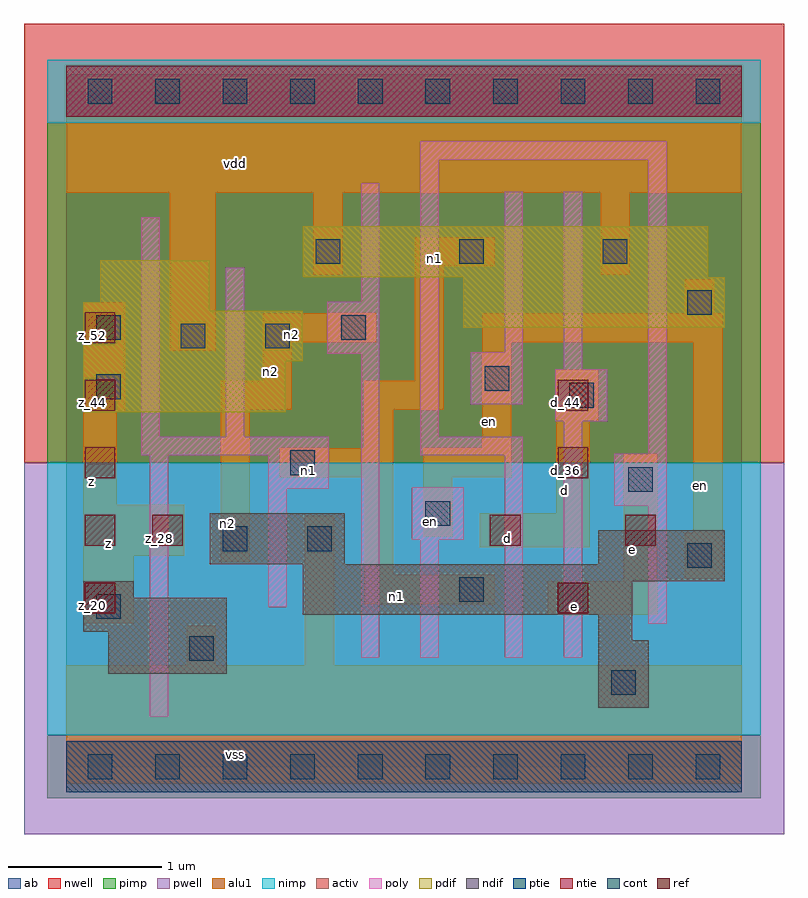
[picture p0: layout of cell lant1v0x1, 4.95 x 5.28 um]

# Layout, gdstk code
import gdstk
lib = gdstk.Library(unit=1e-6, precision=2.5e-09)
def R(c, l, rs):  # rectangles x0, y0, x1, y1
    for r in rs: c.add(gdstk.rectangle(r[:2], r[2:], *l))
def A(c, l, x, y, w, h, nx, ny, dx, dy):  # array of equal rectangles
    R(c, l, [(x+i*dx, y+j*dy, x+i*dx+w, y+j*dy+h) for i in range(nx) for j in range(ny)])
ndif = (3, 0)
pdif = (4, 0)
ntie = (5, 0)
ptie = (6, 0)
ref = (24, 0)
cont = (25, 0)
pwell = (41, 0)
nwell = (42, 0)
activ = (43, 0)
pimp = (44, 0)
nimp = (45, 0)
poly = (46, 0)
alu1 = (49, 0)
ab = (63, 0)

lant1v0x1 = lib.new_cell('lant1v0x1')
R(lant1v0x1, ndif, [(3.465,0.385,3.795,0.825), (0.275,0.605,1.045,0.88), (3.465,0.825,3.685,0.99), (0.11,0.88,1.045,1.1), (1.54,0.99,3.685,1.21), (0.11,1.1,0.44,1.21), (1.54,1.21,4.29,1.32), (0.935,1.32,1.815,1.65), (3.465,1.32,4.29,1.54)])
R(lant1v0x1, pdif, [(0.11,2.31,1.43,2.64), (0.11,2.64,1.54,2.97), (2.585,2.86,4.29,3.19), (0.11,2.97,0.935,3.025), (0.22,3.025,0.935,3.3), (1.54,3.19,4.18,3.52)])
R(lant1v0x1, ntie, [(0,4.235,4.4,4.565)])
R(lant1v0x1, ptie, [(0,-0.165,4.4,0.165)])
A(lant1v0x1, ref, 0.12, 1, 0.2, 0.2, 1, 5, 0, 0.44)
R(lant1v0x1, ref, [(3.2,1,3.4,1.2), (0.56,1.44,0.76,1.64), (2.76,1.44,2.96,1.64), (3.64,1.44,3.84,1.64), (3.2,1.88,3.4,2.08), (3.2,2.32,3.4,2.52)])
A(lant1v0x1, cont, 0.14, -0.08, 0.16, 0.16, 10, 2, 0.44, 4.4)
A(lant1v0x1, cont, 1.625, 3.275, 0.16, 0.16, 3, 1, 0.935, 0)
R(lant1v0x1, cont, [(3.55,0.47,3.71,0.63), (0.8,0.69,0.96,0.85), (0.195,0.965,0.355,1.125), (2.56,1.075,2.72,1.235), (4.045,1.295,4.205,1.455), (1.02,1.405,1.18,1.565), (1.57,1.405,1.73,1.565), (2.34,1.57,2.5,1.73), (3.66,1.79,3.82,1.95), (1.46,1.9,1.62,2.06), (3.275,2.34,3.435,2.5), (0.195,2.395,0.355,2.555), (2.725,2.45,2.885,2.61), (0.745,2.725,0.905,2.885), (1.295,2.725,1.455,2.885), (0.195,2.78,0.355,2.94), (1.79,2.78,1.95,2.94), (4.045,2.945,4.205,3.105)])
R(lant1v0x1, pwell, [(-0.275,-0.44,4.675,1.98)])
R(lant1v0x1, nwell, [(-0.275,1.98,4.675,4.84)])
R(lant1v0x1, activ, [(0,-0.165,4.4,0.165), (3.465,0.385,3.795,0.825), (0.275,0.605,1.045,0.88), (3.465,0.825,3.685,0.99), (0.11,0.88,1.045,1.1), (1.54,0.99,3.685,1.21), (0.11,1.1,0.44,1.21), (1.54,1.21,4.29,1.32), (0.935,1.32,1.815,1.65), (3.465,1.32,4.29,1.54), (0.11,2.31,1.43,2.64), (0.11,2.64,1.54,2.97), (2.585,2.86,4.29,3.19), (0.11,2.97,0.935,3.025), (0.22,3.025,0.935,3.3), (1.54,3.19,4.18,3.52), (0,4.235,4.4,4.565)])
R(lant1v0x1, pimp, [(-0.125,-0.205,4.525,0.205), (-0.125,1.98,4.525,4.195)])
R(lant1v0x1, nimp, [(-0.125,0.205,4.525,1.98), (-0.125,4.195,4.525,4.605)])
R(lant1v0x1, poly, [(0.545,0.325,0.665,2.03), (1.92,0.71,2.04,2.69), (2.305,0.71,2.425,1.48), (2.855,0.71,2.975,2.03), (3.24,0.71,3.36,2.25), (3.79,0.93,3.91,1.7), (1.315,1.04,1.435,1.81), (2.25,1.48,2.59,1.82), (3.57,1.7,3.91,2.04), (1.315,1.81,1.71,2.03), (0.49,2.03,1.71,2.15), (2.305,2.03,2.975,2.15), (3.79,2.04,3.91,3.955), (0.49,2.15,0.61,3.58), (1.04,2.15,1.16,3.25), (2.305,2.15,2.425,3.955), (3.185,2.25,3.525,2.59), (2.635,2.36,2.975,2.7), (3.24,2.59,3.36,3.745), (1.7,2.69,2.04,3.03), (2.855,2.7,2.975,3.745), (1.92,3.03,2.04,3.8), (2.305,3.955,3.91,4.075)])
R(lant1v0x1, alu1, [(0,-0.11,4.4,0.66), (0.785,0.66,0.975,0.92), (1.555,0.66,1.745,1.635), (0.11,0.935,0.44,1.375), (3.135,0.99,3.85,1.21), (1.94,1.06,2.79,1.25), (3.63,1.21,3.85,2.035), (4.03,1.225,4.275,1.525), (1.94,1.25,2.13,1.885), (1.005,1.335,1.195,2.325), (0.11,1.375,0.77,1.705), (2.695,1.43,3.41,1.65), (2.325,1.5,2.515,1.885), (4.085,1.525,4.275,2.765), (3.19,1.65,3.41,2.255), (0.11,1.705,0.33,2.31), (1.39,1.885,2.13,2.075), (2.325,1.885,2.9,2.075), (1.94,2.075,2.13,2.325), (2.71,2.075,2.9,2.765), (3.19,2.255,3.465,2.585), (0.11,2.31,0.385,3.025), (1.005,2.325,1.47,2.515), (1.94,2.325,2.46,2.515), (1.28,2.515,1.47,2.765), (2.27,2.515,2.46,3.26), (0.675,2.71,0.975,3.74), (1.28,2.765,2.02,2.955), (2.71,2.765,4.275,2.955), (4.03,2.955,4.22,3.175), (1.61,3.205,1.8,3.74), (3.48,3.205,3.67,3.74), (2.27,3.26,2.79,3.45), (0,3.74,4.4,4.51)])
R(lant1v0x1, ab, [(0,0,4.4,4.4)])
lant1v0x1.add(gdstk.Label('vss', (1.1,0.0825), layer=49, texttype=0))
lant1v0x1.add(gdstk.Label('e', (3.3125,1.045), layer=49, texttype=0))
lant1v0x1.add(gdstk.Label('en', (4.1325,1.835), layer=49, texttype=0))
lant1v0x1.add(gdstk.Label('e', (3.685,1.415), layer=49, texttype=0))
lant1v0x1.add(gdstk.Label('n1', (2.1525,1.1075), layer=49, texttype=0))
lant1v0x1.add(gdstk.Label('d', (2.8725,1.485), layer=49, texttype=0))
lant1v0x1.add(gdstk.Label('d', (3.245,1.8), layer=49, texttype=0))
lant1v0x1.add(gdstk.Label('en', (2.3725,1.595), layer=49, texttype=0))
lant1v0x1.add(gdstk.Label('n1', (1.575,1.9325), layer=49, texttype=0))
lant1v0x1.add(gdstk.Label('en', (2.7575,2.2475), layer=49, texttype=0))
lant1v0x1.add(gdstk.Label('n2', (1.0525,1.5825), layer=49, texttype=0))
lant1v0x1.add(gdstk.Label('z', (0.275,1.4575), layer=49, texttype=0))
lant1v0x1.add(gdstk.Label('z', (0.165,1.855), layer=49, texttype=0))
lant1v0x1.add(gdstk.Label('n2', (1.3275,2.5775), layer=49, texttype=0))
lant1v0x1.add(gdstk.Label('n2', (1.465,2.8125), layer=49, texttype=0))
lant1v0x1.add(gdstk.Label('n1', (2.4,3.3075), layer=49, texttype=0))
lant1v0x1.add(gdstk.Label('vdd', (1.1,3.9325), layer=49, texttype=0))
lant1v0x1.add(gdstk.Label('d_36', (3.25,1.93), layer=24, texttype=0))
lant1v0x1.add(gdstk.Label('e_28', (3.69,1.49), layer=24, texttype=0))
lant1v0x1.add(gdstk.Label('e_20', (3.25,1.05), layer=24, texttype=0))
lant1v0x1.add(gdstk.Label('z_28', (0.17,1.49), layer=24, texttype=0))
lant1v0x1.add(gdstk.Label('z_36', (0.17,1.93), layer=24, texttype=0))
lant1v0x1.add(gdstk.Label('z_44', (0.17,2.37), layer=24, texttype=0))
lant1v0x1.add(gdstk.Label('z_20', (0.17,1.05), layer=24, texttype=0))
lant1v0x1.add(gdstk.Label('z_52', (0.17,2.81), layer=24, texttype=0))
lant1v0x1.add(gdstk.Label('d_44', (3.25,2.37), layer=24, texttype=0))
lant1v0x1.add(gdstk.Label('d_28', (2.81,1.49), layer=24, texttype=0))
lant1v0x1.add(gdstk.Label('z_28', (0.61,1.49), layer=24, texttype=0))

lib.write_gds('lant1v0x1.gds')
